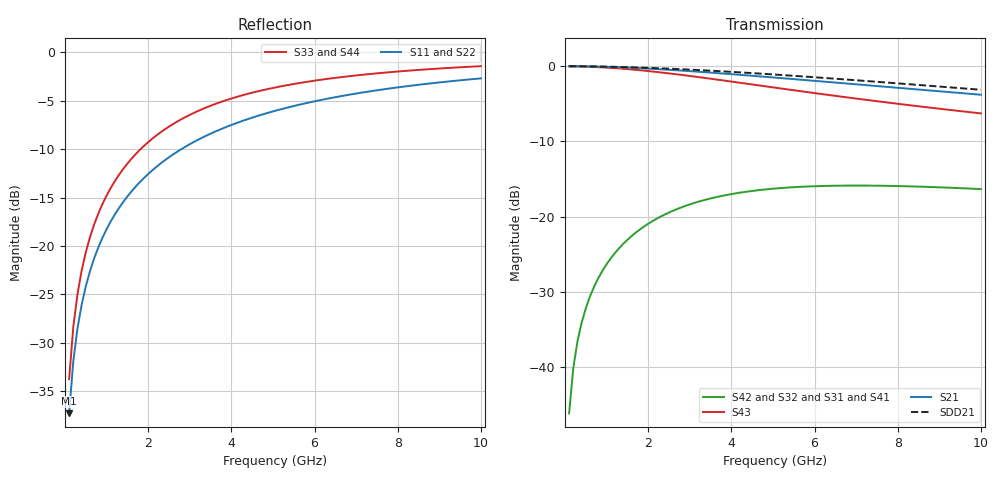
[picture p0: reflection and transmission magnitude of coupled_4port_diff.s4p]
! Synthetic 4-port coupled coils, floating (differential)
! Two magnetically coupled coils, Z_loop = [[R1+jwL1, jwM], [jwM, R2+jwL2]]
! R1 = 0.6 Ohm
! R2 = 0.9 Ohm
! L1 = 2e-09 H
! L2 = 3e-09 H
! M  = 8e-10 H
! k  = M / sqrt(L1*L2) = 0.3265986323710904
! C_shunt_each_terminal = 5e-15 F
! Wiring: coil1 between port1(+) and port2(-), coil2 between port3(+) and port4(-)
! Values above are exact by construction; see tests/generate_test_snp.py.
! Port[1] = c1_p
! Port[2] = c1_n
! Port[3] = c2_p
! Port[4] = c2_n
# HZ S RI R 50
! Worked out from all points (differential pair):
!   100 points, 100 MHz to 10 GHz, reference 50 ohm
!   strongest paths, dB at 100 MHz, 2.6 GHz, 5.1 GHz, 7.6 GHz, 10 GHz:
!     S21: -0.1, -0.6, -1.6, -2.7, -3.8
!     S43: -0.1, -1.1, -2.9, -4.8, -6.3
!     S42: -46.1, -19.2, -16.3, -15.9, -16.4
!     S32: -46.1, -19.2, -16.3, -15.9, -16.4
!     S31: -46.1, -19.2, -16.3, -15.9, -16.4
!     S41: -46.1, -19.2, -16.3, -15.9, -16.4
!   taken as a pair (ports 1,3 in; 2,4 out), SDD21 dB: -0.1, -0.4, -1.2, -2.2, -3.2
!   lowest |S11| = -37.3 dB at 100 MHz (marker M1), VSWR 1.03, Z = 50.6 + j1.24 ohm
!   |S11| at or under -10 dB: start of sweep to 2.803 GHz
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1e8  0.00614 0.0123  0.9939 -0.0126  0.000154 0.00495  -0.000154 -0.00495
     0.9939 -0.0126  0.00614 0.0123  -0.000154 -0.00495  0.000154 0.00495
     0.000154 0.00495  -0.000154 -0.00495  0.00929 0.0184  0.9907 -0.0187
     -0.000154 -0.00495  0.000154 0.00495  0.9907 -0.0187  0.00929 0.0184
3e8  0.00758 0.0367  0.9924 -0.0376  0.00138 0.0148  -0.00138 -0.0148
     0.9924 -0.0376  0.00758 0.0367  -0.00138 -0.0148  0.00138 0.0148
     0.00138 0.0148  -0.00138 -0.0148  0.0122 0.0549  0.9878 -0.0558
     -0.00138 -0.0148  0.00138 0.0148  0.9878 -0.0558  0.0122 0.0549
7e8  0.0146 0.0848  0.9854 -0.087  0.00737 0.0334  -0.00737 -0.0334
     0.9854 -0.087  0.0146 0.0848  -0.00737 -0.0334  0.00737 0.0334
     0.00737 0.0334  -0.00737 -0.0334  0.0267 0.1259  0.9733 -0.1281
     -0.00737 -0.0334  0.00737 0.0334  0.9733 -0.1281  0.0267 0.1259
1.3e9  0.0349 0.1532  0.9651 -0.1573  0.0239 0.0568  -0.0239 -0.0568
       0.9651 -0.1573  0.0349 0.1532  -0.0239 -0.0568  0.0239 0.0568
       0.0239 0.0568  -0.0239 -0.0568  0.0673 0.223  0.9327 -0.2271
       -0.0239 -0.0568  0.0239 0.0568  0.9327 -0.2271  0.0673 0.223
2.2e9  0.0821 0.2426  0.9179 -0.2495  0.0586 0.0767  -0.0586 -0.0767
       0.9179 -0.2495  0.0821 0.2426  -0.0586 -0.0767  0.0586 0.0767
       0.0586 0.0767  -0.0586 -0.0767  0.1575 0.3369  0.8425 -0.3438
       -0.0586 -0.0767  0.0586 0.0767  0.8425 -0.3438  0.1575 0.3369
5e9  0.2785 0.4083  0.7214 -0.424  0.1464 0.0441  -0.1464 -0.0441
     0.7214 -0.424  0.2785 0.4083  -0.1464 -0.0441  0.1464 0.0441
     0.1464 0.0441  -0.1464 -0.0441  0.462 0.4616  0.5378 -0.4773
     -0.1464 -0.0441  0.1464 0.0441  0.5378 -0.4773  0.462 0.4616
1e10  0.5755 0.4517  0.424 -0.4831  0.1426 -0.053  -0.1426 0.053
      0.424 -0.4831  0.5755 0.4517  -0.1426 0.053  0.1426 -0.053
      0.1426 -0.053  -0.1426 0.053  0.7534 0.3846  0.2461 -0.416
      -0.1426 0.053  0.1426 -0.053  0.2461 -0.416  0.7534 0.3846
